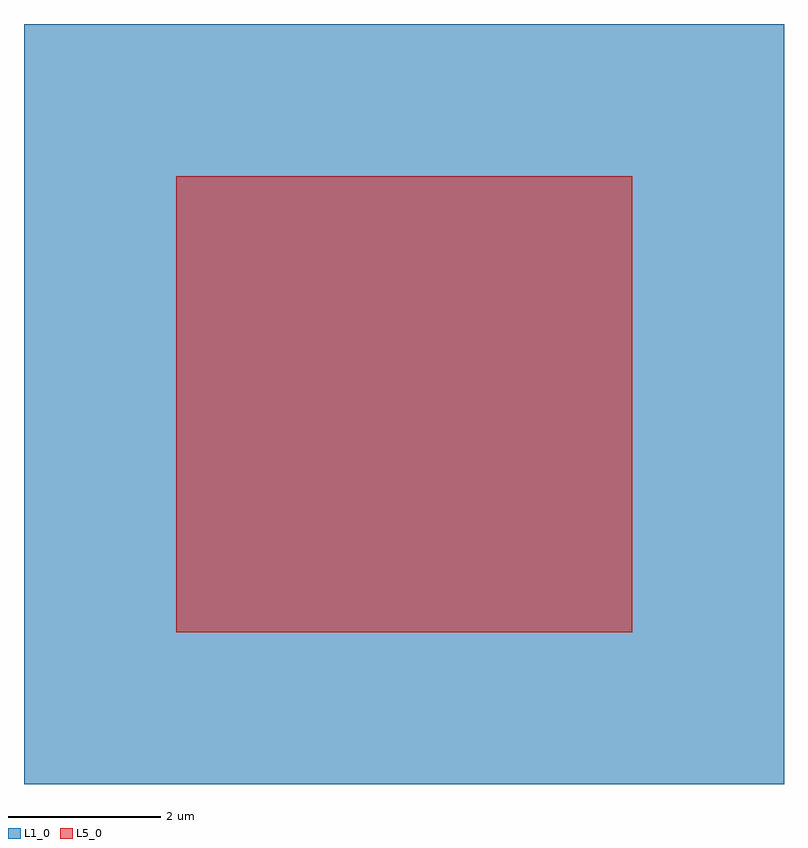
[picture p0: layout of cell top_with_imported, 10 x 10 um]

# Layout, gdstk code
import gdstk
lib = gdstk.Library(unit=1e-6, precision=1e-09)
def R(c, l, rs):  # rectangles x0, y0, x1, y1
    for r in rs: c.add(gdstk.rectangle(r[:2], r[2:], *l))
L1_0 = (1, 0)
L5_0 = (5, 0)

sub_block_c1 = lib.new_cell('sub_block_c1')
R(sub_block_c1, L1_0, [(0,0,10,10)])
R(sub_block_c1, L5_0, [(2,2,8,8)])

sub_block_c2 = lib.new_cell('sub_block_c2')
R(sub_block_c2, L1_0, [(0,0,10,10)])
R(sub_block_c2, L5_0, [(2,2,8,8)])

layout_with_frozen_c1 = lib.new_cell('layout_with_frozen_c1')
layout_with_frozen_c1.add(gdstk.Reference(sub_block_c1, (0,0)))
layout_with_frozen_c1.add(gdstk.Reference(sub_block_c2, (0,0)))

layout_with_frozen_c2 = lib.new_cell('layout_with_frozen_c2')
layout_with_frozen_c2.add(gdstk.Reference(sub_block_c1, (0,0)))
layout_with_frozen_c2.add(gdstk.Reference(sub_block_c2, (0,0)))

top_with_imported = lib.new_cell('top_with_imported')
top_with_imported.add(gdstk.Reference(layout_with_frozen_c1, (0,0)))
top_with_imported.add(gdstk.Reference(layout_with_frozen_c2, (0,0)))

lib.write_gds('top_with_imported.gds')
